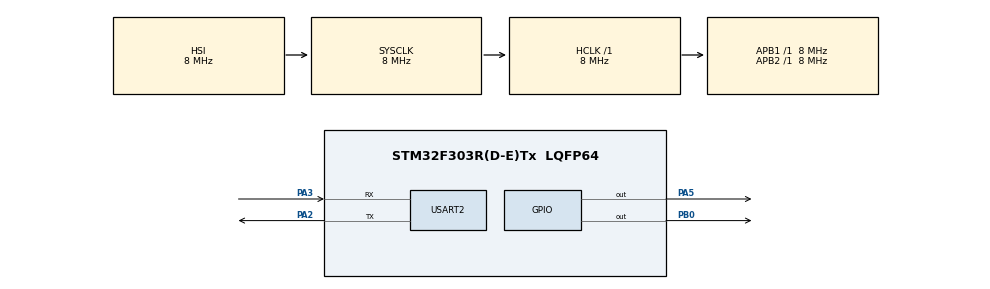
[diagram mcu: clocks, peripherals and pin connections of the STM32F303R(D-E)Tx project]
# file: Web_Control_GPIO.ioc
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Mcu.Family=STM32F3
Mcu.Name=STM32F303R(D-E)Tx
Mcu.Package=LQFP64
NVIC.PriorityGroup=NVIC_PRIORITYGROUP_4
NVIC.USART2_IRQn=true\:0\:0\:false\:false\:true\:true\:true\:true
PA2.Mode=Asynchronous
PA2.Signal=USART2_TX
PA3.Mode=Asynchronous
PA3.Signal=USART2_RX
PA5.Signal=GPIO_Output
PB0.Signal=GPIO_Output
ProjectManager.HeapSize=0x200
ProjectManager.StackSize=0x400
ProjectManager.TargetToolchain=STM32CubeIDE
RCC.AHBFreq_Value=8000000
RCC.APB1Freq_Value=8000000
RCC.APB2Freq_Value=8000000
RCC.CortexFreq_Value=8000000
RCC.HSE_VALUE=8000000
RCC.HSI_VALUE=8000000
RCC.LSE_VALUE=32768
RCC.SYSCLKFreq_VALUE=8000000
RCC.USBFreq_Value=16000000
USART2.VirtualMode-Asynchronous=VM_ASYNC
board=custom

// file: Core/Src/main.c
/* USER CODE BEGIN Header */
/**
  ******************************************************************************
  * @file           : main.c
  * @brief          : Main program body
  ******************************************************************************
  * @attention
  *
  * Copyright (c) 2025 STMicroelectronics.
  * All rights reserved.
  *
  * This software is licensed under terms that can be found in the LICENSE file
  * in the root directory of this software component.
  * If no LICENSE file comes with this software, it is provided AS-IS.
  *
  ******************************************************************************
  */
/* USER CODE END Header */
#include "main.h"

/* USER CODE BEGIN Includes */
#include <string.h>
#include <stdio.h>
/* USER CODE END Includes */

UART_HandleTypeDef huart2;

void SystemClock_Config(void);
static void MX_GPIO_Init(void);
static void MX_USART2_UART_Init(void);

/* USER CODE BEGIN 0 */
char cmdBuffer[20];  // command buffer
uint8_t rxByte;      // one byte receive buffer
uint8_t idx = 0;     // index in cmdBuffer

void HAL_UART_RxCpltCallback(UART_HandleTypeDef *huart) {
    if (huart->Instance == USART2) {
        if (rxByte != '\n' && idx < sizeof(cmdBuffer)-1) {
            cmdBuffer[idx++] = rxByte;
        } else {
            cmdBuffer[idx] = 0;  // null terminate

            HAL_UART_Transmit(&huart2, (uint8_t *)"Got: ", 5, HAL_MAX_DELAY);
            HAL_UART_Transmit(&huart2, (uint8_t *)cmdBuffer, strlen(cmdBuffer), HAL_MAX_DELAY);
            HAL_UART_Transmit(&huart2, (uint8_t *)"\r\n", 2, HAL_MAX_DELAY);

            if (strcmp(cmdBuffer, "26 ON") == 0) {
                HAL_GPIO_WritePin(GPIOA, GPIO_PIN_5, GPIO_PIN_SET);
                HAL_UART_Transmit(&huart2, (uint8_t *)"GPIO A5 is ON\r\n", strlen("GPIO A5 is ON\r\n"), HAL_MAX_DELAY);
            } else if (strcmp(cmdBuffer, "26 OFF") == 0) {
                HAL_UART_Transmit(&huart2, (uint8_t *)"GPIO A5 is OFF\r\n", strlen("GPIO A5 is OFF\r\n"), HAL_MAX_DELAY);
                HAL_GPIO_WritePin(GPIOA, GPIO_PIN_5, GPIO_PIN_RESET);
            } else if (strcmp(cmdBuffer, "27 ON") == 0) {
                HAL_GPIO_WritePin(GPIOB, GPIO_PIN_0, GPIO_PIN_SET);
                HAL_UART_Transmit(&huart2, (uint8_t *)"GPIO B0 is ON\r\n", strlen("GPIO B0 is ON\r\n"), HAL_MAX_DELAY);
            } else if (strcmp(cmdBuffer, "27 OFF") == 0) {
                HAL_GPIO_WritePin(GPIOB, GPIO_PIN_0, GPIO_PIN_RESET);
                HAL_UART_Transmit(&huart2, (uint8_t *)"GPIO B0 is OFF\r\n", strlen("GPIO B0 is OFF\r\n"), HAL_MAX_DELAY);
            }

            idx = 0;  // reset buffer
        }
        HAL_UART_Receive_IT(&huart2, &rxByte, 1);
    }
}
/* USER CODE END 0 */

int main(void)
{

  /* MCU Configuration--------------------------------------------------------*/

  /* Reset of all peripherals, Initializes the Flash interface and the Systick. */
  HAL_Init();

  /* Configure the system clock */
  SystemClock_Config();

  /* Initialize all configured peripherals */
  MX_GPIO_Init();
  MX_USART2_UART_Init();
  /* USER CODE BEGIN 2 */
  HAL_UART_Receive_IT(&huart2, &rxByte, 1);
  HAL_UART_Transmit(&huart2, (uint8_t *)"UART Ready\r\n", strlen("UART Ready\r\n"), HAL_MAX_DELAY);

  /* USER CODE END 2 */

  /* Infinite loop */
  while (1)
  {

  }
}

void SystemClock_Config(void)
{
  RCC_OscInitTypeDef RCC_OscInitStruct = {0};
  RCC_ClkInitTypeDef RCC_ClkInitStruct = {0};
  RCC_PeriphCLKInitTypeDef PeriphClkInit = {0};

  /** Initializes the RCC Oscillators according to the specified parameters
  * in the RCC_OscInitTypeDef structure.
  */
  RCC_OscInitStruct.OscillatorType = RCC_OSCILLATORTYPE_HSI;
  RCC_OscInitStruct.HSIState = RCC_HSI_ON;
  RCC_OscInitStruct.HSICalibrationValue = RCC_HSICALIBRATION_DEFAULT;
  RCC_OscInitStruct.PLL.PLLState = RCC_PLL_NONE;
  if (HAL_RCC_OscConfig(&RCC_OscInitStruct) != HAL_OK)
  {
    Error_Handler();
  }

  /** Initializes the CPU, AHB and APB buses clocks
  */
  RCC_ClkInitStruct.ClockType = RCC_CLOCKTYPE_HCLK|RCC_CLOCKTYPE_SYSCLK
                              |RCC_CLOCKTYPE_PCLK1|RCC_CLOCKTYPE_PCLK2;
  RCC_ClkInitStruct.SYSCLKSource = RCC_SYSCLKSOURCE_HSI;
  RCC_ClkInitStruct.AHBCLKDivider = RCC_SYSCLK_DIV1;
  RCC_ClkInitStruct.APB1CLKDivider = RCC_HCLK_DIV1;
  RCC_ClkInitStruct.APB2CLKDivider = RCC_HCLK_DIV1;

  if (HAL_RCC_ClockConfig(&RCC_ClkInitStruct, FLASH_LATENCY_0) != HAL_OK)
  {
    Error_Handler();
  }
  PeriphClkInit.PeriphClockSelection = RCC_PERIPHCLK_USART2;
  PeriphClkInit.Usart2ClockSelection = RCC_USART2CLKSOURCE_PCLK1;
  if (HAL_RCCEx_PeriphCLKConfig(&PeriphClkInit) != HAL_OK)
  {
    Error_Handler();
  }
}

static void MX_USART2_UART_Init(void)
{

  huart2.Instance = USART2;
  huart2.Init.BaudRate = 38400;
  huart2.Init.WordLength = UART_WORDLENGTH_8B;
  huart2.Init.StopBits = UART_STOPBITS_1;
  huart2.Init.Parity = UART_PARITY_NONE;
  huart2.Init.Mode = UART_MODE_TX_RX;
  huart2.Init.HwFlowCtl = UART_HWCONTROL_NONE;
  huart2.Init.OverSampling = UART_OVERSAMPLING_16;
  huart2.Init.OneBitSampling = UART_ONE_BIT_SAMPLE_DISABLE;
  huart2.AdvancedInit.AdvFeatureInit = UART_ADVFEATURE_NO_INIT;
  if (HAL_UART_Init(&huart2) != HAL_OK)
  {
    Error_Handler();
  }

}

static void MX_GPIO_Init(void)
{
  GPIO_InitTypeDef GPIO_InitStruct = {0};

  /* GPIO Ports Clock Enable */
  __HAL_RCC_GPIOA_CLK_ENABLE();
  __HAL_RCC_GPIOB_CLK_ENABLE();

  /*Configure GPIO pin Output Level */
  HAL_GPIO_WritePin(GPIOA, GPIO_PIN_5, GPIO_PIN_RESET);

  /*Configure GPIO pin Output Level */
  HAL_GPIO_WritePin(GPIOB, GPIO_PIN_0, GPIO_PIN_RESET);

  /*Configure GPIO pin : PA5 */
  GPIO_InitStruct.Pin = GPIO_PIN_5;
  GPIO_InitStruct.Mode = GPIO_MODE_OUTPUT_PP;
  GPIO_InitStruct.Pull = GPIO_NOPULL;
  GPIO_InitStruct.Speed = GPIO_SPEED_FREQ_LOW;
  HAL_GPIO_Init(GPIOA, &GPIO_InitStruct);

  /*Configure GPIO pin : PB0 */
  GPIO_InitStruct.Pin = GPIO_PIN_0;
  GPIO_InitStruct.Mode = GPIO_MODE_OUTPUT_PP;
  GPIO_InitStruct.Pull = GPIO_NOPULL;
  GPIO_InitStruct.Speed = GPIO_SPEED_FREQ_LOW;
  HAL_GPIO_Init(GPIOB, &GPIO_InitStruct);

}

void Error_Handler(void)
{
  __disable_irq();
  while (1)
  {
  }
}
